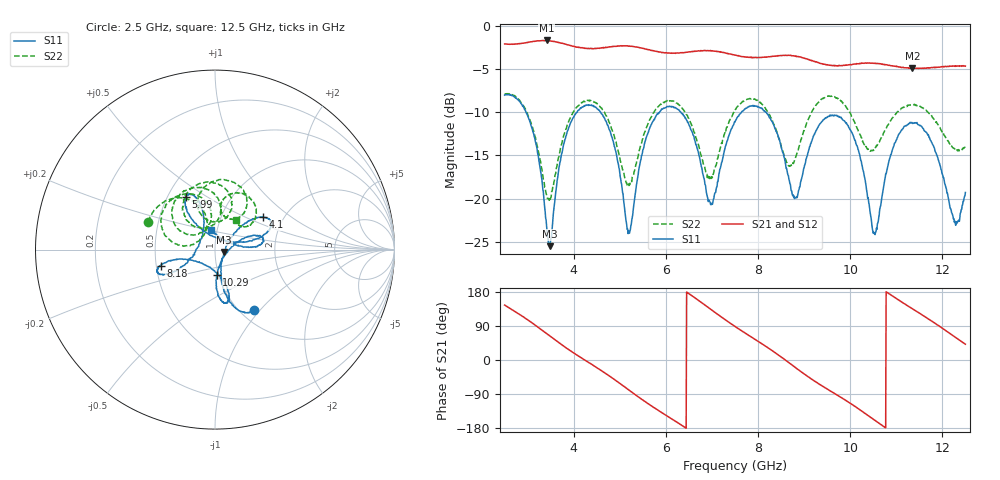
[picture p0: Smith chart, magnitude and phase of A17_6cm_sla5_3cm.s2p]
!Keysight Technologies N9950B: A.12.38
!Date: Monday, 17 April 2023 21:07:45
!Timezone: (UTC-06:00) Central Time (US & Canada)
!Model: N9950B
!Serial: MY61131330
!GPS Latitude:
!GPS Longitude:
!GPS TimeStamp: 0001-01-01 00:00:00Z
!GPS Seconds Since Last Read: 0
!CHECKSUM:0510839033
!Correction: S11(ON U)S21(ON U)S12(ON U)S22(ON U)
!S2P File: Measurements:S11,S21,S12,S22:
# Hz S DB R 50
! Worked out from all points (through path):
!   1001 points, 2.5 GHz to 12.5 GHz, reference 50 ohm
!   highest |S21| = -1.71 dB at 3.41 GHz (marker M1); lowest = -4.9 dB at 11.35 GHz (marker M2)
!   group delay of S21, straight-line fit = 229 ps
!   lowest |S11| = -25.5 dB at 3.48 GHz (marker M3), VSWR 1.11, Z = 55.4 - j1.4 ohm
!   |S11| at or under -10 dB: 4.583 GHz to 5.862 GHz (1.279 GHz wide, 24.5 % of centre); 6.325 GHz to 7.64 GHz (1.315 GHz wide, 18.8 % of centre); 8.168 GHz to end of sweep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
!   |S22| runs from -20.2 to -7.9 dB; largest |S21 - S12| = 0.0058
!   S11 on the Smith chart (normalised r, x): 2.5 GHz: 1.16, -0.92; 4.1 GHz: 1.58, +0.64; 5.99 GHz: 0.62, +0.41; 8.18 GHz: 0.53, -0.10; 10.29 GHz: 0.98, -0.28; 12.5 GHz: 0.94, +0.20
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2.5e9  -8.02 -57.3  -2.11 145.0  -2.13 145.1  -7.90 157.5
3.08e9  -11.63 -75.8  -1.85 99.3  -1.86 99.2  -11.35 110.7
3.41e9  -23.13 -54.3  -1.71 69.7  -1.73 69.8  -19.54 123.3
3.48e9  -25.48 -13.7  -1.77 63.3  -1.78 63.4  -19.85 145.3
4.1e9  -9.78 33.7  -2.47 10.7  -2.49 10.7  -9.25 150.2
4.17e9  -9.47 31.7  -2.55 5.3  -2.55 5.3  -8.93 145.0
4.75e9  -11.67 14.8  -2.47 -40.2  -2.50 -40.4  -10.89 102.5
5.2e9  -23.85 70.5  -2.34 -79.6  -2.32 -79.4  -18.47 125.9
5.84e9  -10.04 122.1  -3.01 -133.3  -3.01 -133.3  -9.33 132.3
5.99e9  -9.48 118.5  -3.13 -145.1  -3.12 -145.0  -8.76 122.2
6.97e9  -20.66 152.8  -2.86 134.1  -2.88 134.2  -17.32 109.3
7.5e9  -11.12 -151.8  -3.38 88.6  -3.38 88.5  -9.78 122.3
8.18e9  -10.01 -163.7  -3.64 34.9  -3.66 35.1  -9.71 76.8
8.8e9  -19.85 -120.0  -3.52 -18.9  -3.50 -19.0  -15.39 104.8
9.17e9  -13.29 -72.4  -4.01 -51.1  -4.01 -51.1  -9.92 106.1
9.76e9  -10.59 -81.1  -4.58 -95.8  -4.62 -95.7  -8.43 67.7
1.029e10  -16.90 -86.0  -4.33 -138.0  -4.34 -138.0  -13.56 55.3
1.053e10  -24.09 -34.2  -4.33 -158.6  -4.33 -158.7  -14.19 74.5
1.084e10  -15.66 21.5  -4.56 175.2  -4.56 175.2  -11.33 80.8
1.135e10  -11.29 11.9  -4.95 135.1  -4.91 135.2  -9.15 60.0
1.227e10  -22.57 48.6  -4.67 61.1  -4.65 61.0  -14.24 42.9
1.25e10  -19.28 100.5  -4.67 41.7  -4.68 41.7  -13.87 55.7
